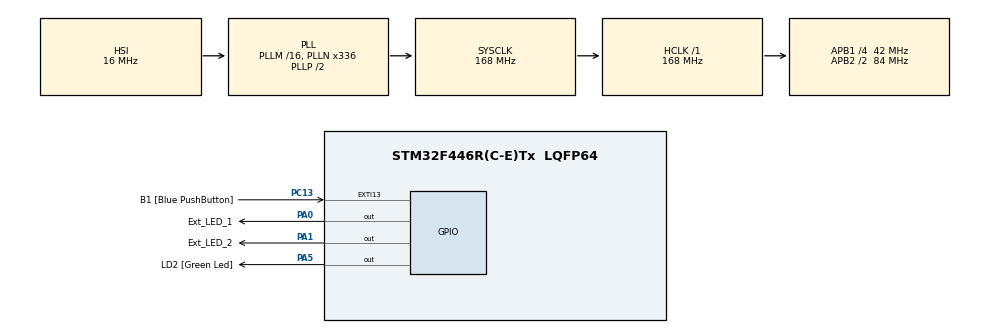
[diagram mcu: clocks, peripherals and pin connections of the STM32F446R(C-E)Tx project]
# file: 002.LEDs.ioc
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Mcu.Family=STM32F4
Mcu.Name=STM32F446R(C-E)Tx
Mcu.Package=LQFP64
NVIC.PriorityGroup=NVIC_PRIORITYGROUP_4
NVIC.TIM6_DAC_IRQn=true\:0\:0\:false\:false\:true\:false\:true\:true
NVIC.TimeBase=TIM6_DAC_IRQn
NVIC.TimeBaseIP=TIM6
PA0-WKUP.GPIO_Label=Ext_LED_1
PA0-WKUP.Signal=GPIO_Output
PA1.GPIO_Label=Ext_LED_2
PA1.Signal=GPIO_Output
PA13.GPIO_Label=TMS
PA13.Signal=SYS_JTMS-SWDIO
PA14.GPIO_Label=TCK
PA14.Signal=SYS_JTCK-SWCLK
PA2.GPIO_Label=USART_TX
PA2.Signal=USART2_TX
PA3.GPIO_Label=USART_RX
PA3.Signal=USART2_RX
PA5.GPIO_Label=LD2 [Green Led]
PA5.Signal=GPIO_Output
PB3.GPIO_Label=SWO
PB3.Signal=SYS_JTDO-SWO
PC13.GPIO_Label=B1 [Blue PushButton]
PC13.GPIO_ModeDefaultEXTI=GPIO_MODE_IT_FALLING
PC13.Signal=GPXTI13
PC14-OSC32_IN.Signal=RCC_OSC32_IN
PC15-OSC32_OUT.Signal=RCC_OSC32_OUT
PH0-OSC_IN.Signal=RCC_OSC_IN
PH1-OSC_OUT.Signal=RCC_OSC_OUT
ProjectManager.HeapSize=0x200
ProjectManager.StackSize=0x400
ProjectManager.TargetToolchain=STM32CubeIDE
RCC.AHBFreq_Value=168000000
RCC.APB1CLKDivider=RCC_HCLK_DIV4
RCC.APB1Freq_Value=42000000
RCC.APB1TimFreq_Value=84000000
RCC.APB2CLKDivider=RCC_HCLK_DIV2
RCC.APB2Freq_Value=84000000
RCC.APB2TimFreq_Value=168000000
RCC.CortexFreq_Value=168000000
RCC.FLatency-AdvancedSettings=FLASH_LATENCY_5
RCC.HCLKFreq_Value=168000000
RCC.HSE_VALUE=8000000
RCC.HSI_VALUE=16000000
RCC.LSE_VALUE=32768
RCC.PLLN=336
RCC.SYSCLKFreq_VALUE=168000000
RCC.SYSCLKSource=RCC_SYSCLKSOURCE_PLLCLK
RCC.USBFreq_Value=168000000
RCC.VCOOutputFreq_Value=336000000
VP_SYS_VS_tim6.Mode=TIM6
board=NUCLEO-F446RE

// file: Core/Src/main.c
/* USER CODE BEGIN Header */
/**
  ******************************************************************************
  * @file           : main.c
  * @brief          : Main program body
  ******************************************************************************
  * @attention
  *
  * Copyright (c) 2025 STMicroelectronics.
  * All rights reserved.
  *
  * This software is licensed under terms that can be found in the LICENSE file
  * in the root directory of this software component.
  * If no LICENSE file comes with this software, it is provided AS-IS.
  *
  ******************************************************************************
  */
/* USER CODE END Header */
#include "main.h"

/* USER CODE BEGIN Includes */

#include <stdio.h>
#include "FreeRTOS.h"
#include "task.h"

/* USER CODE END Includes */

/* USER CODE BEGIN PV */

#define DWT_CTRL		(*(volatile uint32_t*)0xE0001000)

/* USER CODE END PV */

void SystemClock_Config(void);
static void MX_GPIO_Init(void);
/* USER CODE BEGIN PFP */

void LED1_task(void *);
void LED2_task(void *);
void LED3_task(void *);

extern void SEGGER_UART_init(uint32_t);

/* USER CODE END PFP */

int main(void)
{

  /* USER CODE BEGIN 1 */

	TaskHandle_t task1_handle = NULL;
	TaskHandle_t task2_handle = NULL;
	TaskHandle_t task3_handle = NULL;
	BaseType_t status;

  /* USER CODE END 1 */

  /* MCU Configuration--------------------------------------------------------*/

  /* Reset of all peripherals, Initializes the Flash interface and the Systick. */
  HAL_Init();

  /* Configure the system clock */
  SystemClock_Config();

  /* Initialize all configured peripherals */
  MX_GPIO_Init();
  /* USER CODE BEGIN 2 */

  SEGGER_UART_init(500000);

  //Enable the CYCCNT (Cyclic Clock Counter)
  DWT_CTRL |= (1 << 0);

  SEGGER_SYSVIEW_Conf();

  //SEGGER_SYSVIEW_Start(); // this is initialized in SEGGER_UART_Init();

  status = xTaskCreate(LED1_task, "LED_1_Task", 200, NULL, 2, &task1_handle);

  configASSERT(status == pdPASS);

  status = xTaskCreate(LED2_task, "LED_2_Task", 200, NULL, 2, &task2_handle);

  configASSERT(status == pdPASS);

  status = xTaskCreate(LED3_task, "LED_3_Task", 200, NULL, 2, &task3_handle);

  configASSERT(status == pdPASS);

  //Start the freeRTOS scheduler
  vTaskStartScheduler();

  /* USER CODE END 2 */

  /* Infinite loop */
  while (1)
  {

  }
}

void SystemClock_Config(void)
{
  RCC_OscInitTypeDef RCC_OscInitStruct = {0};
  RCC_ClkInitTypeDef RCC_ClkInitStruct = {0};

  /** Configure the main internal regulator output voltage
  */
  __HAL_RCC_PWR_CLK_ENABLE();
  __HAL_PWR_VOLTAGESCALING_CONFIG(PWR_REGULATOR_VOLTAGE_SCALE1);

  /** Initializes the RCC Oscillators according to the specified parameters
  * in the RCC_OscInitTypeDef structure.
  */
  RCC_OscInitStruct.OscillatorType = RCC_OSCILLATORTYPE_HSI;
  RCC_OscInitStruct.HSIState = RCC_HSI_ON;
  RCC_OscInitStruct.HSICalibrationValue = RCC_HSICALIBRATION_DEFAULT;
  RCC_OscInitStruct.PLL.PLLState = RCC_PLL_ON;
  RCC_OscInitStruct.PLL.PLLSource = RCC_PLLSOURCE_HSI;
  RCC_OscInitStruct.PLL.PLLM = 16;
  RCC_OscInitStruct.PLL.PLLN = 336;
  RCC_OscInitStruct.PLL.PLLP = RCC_PLLP_DIV2;
  RCC_OscInitStruct.PLL.PLLQ = 2;
  RCC_OscInitStruct.PLL.PLLR = 2;
  if (HAL_RCC_OscConfig(&RCC_OscInitStruct) != HAL_OK)
  {
    Error_Handler();
  }

  /** Initializes the CPU, AHB and APB buses clocks
  */
  RCC_ClkInitStruct.ClockType = RCC_CLOCKTYPE_HCLK|RCC_CLOCKTYPE_SYSCLK
                              |RCC_CLOCKTYPE_PCLK1|RCC_CLOCKTYPE_PCLK2;
  RCC_ClkInitStruct.SYSCLKSource = RCC_SYSCLKSOURCE_PLLCLK;
  RCC_ClkInitStruct.AHBCLKDivider = RCC_SYSCLK_DIV1;
  RCC_ClkInitStruct.APB1CLKDivider = RCC_HCLK_DIV4;
  RCC_ClkInitStruct.APB2CLKDivider = RCC_HCLK_DIV2;

  if (HAL_RCC_ClockConfig(&RCC_ClkInitStruct, FLASH_LATENCY_5) != HAL_OK)
  {
    Error_Handler();
  }
}

static void MX_GPIO_Init(void)
{
  GPIO_InitTypeDef GPIO_InitStruct = {0};

  /* GPIO Ports Clock Enable */
  __HAL_RCC_GPIOC_CLK_ENABLE();
  __HAL_RCC_GPIOH_CLK_ENABLE();
  __HAL_RCC_GPIOA_CLK_ENABLE();
  __HAL_RCC_GPIOB_CLK_ENABLE();

  /*Configure GPIO pin Output Level */
  HAL_GPIO_WritePin(GPIOA, Ext_LED_1_Pin|Ext_LED_2_Pin|LD2_Pin, GPIO_PIN_RESET);

  /*Configure GPIO pin : B1_Pin */
  GPIO_InitStruct.Pin = B1_Pin;
  GPIO_InitStruct.Mode = GPIO_MODE_IT_FALLING;
  GPIO_InitStruct.Pull = GPIO_NOPULL;
  HAL_GPIO_Init(B1_GPIO_Port, &GPIO_InitStruct);

  /*Configure GPIO pins : Ext_LED_1_Pin Ext_LED_2_Pin LD2_Pin */
  GPIO_InitStruct.Pin = Ext_LED_1_Pin|Ext_LED_2_Pin|LD2_Pin;
  GPIO_InitStruct.Mode = GPIO_MODE_OUTPUT_PP;
  GPIO_InitStruct.Pull = GPIO_NOPULL;
  GPIO_InitStruct.Speed = GPIO_SPEED_FREQ_LOW;
  HAL_GPIO_Init(GPIOA, &GPIO_InitStruct);

  /*Configure GPIO pins : USART_TX_Pin USART_RX_Pin */
  GPIO_InitStruct.Pin = USART_TX_Pin|USART_RX_Pin;
  GPIO_InitStruct.Mode = GPIO_MODE_AF_PP;
  GPIO_InitStruct.Pull = GPIO_NOPULL;
  GPIO_InitStruct.Speed = GPIO_SPEED_FREQ_VERY_HIGH;
  GPIO_InitStruct.Alternate = GPIO_AF7_USART2;
  HAL_GPIO_Init(GPIOA, &GPIO_InitStruct);

}

/* USER CODE BEGIN 4 */

void LED1_task(void *)
{
	while(1)
	{
		SEGGER_SYSVIEW_PrintfTarget("LED_1_Toggling");
		HAL_GPIO_TogglePin(GPIOA, GPIO_PIN_0);
		//HAL_Delay(1000);
		//taskYIELD();

		/*By using vTaskDelay() function we can make CPU to sleep when all the tasks are entered into blocked state*/
		vTaskDelay(pdMS_TO_TICKS(1000));
	}
}
void LED2_task(void *)
{
	while(1)
	{
		SEGGER_SYSVIEW_PrintfTarget("LED_2_Toggling");
		HAL_GPIO_TogglePin(GPIOA, GPIO_PIN_1);
		//HAL_Delay(800);
		//taskYIELD();
		vTaskDelay(pdMS_TO_TICKS(800));
	}
}
void LED3_task(void *)
{
	while(1)
	{
		SEGGER_SYSVIEW_PrintfTarget("LED_3_Toggling");
		HAL_GPIO_TogglePin(GPIOA, GPIO_PIN_5);
		//HAL_Delay(400);
		//taskYIELD();
		vTaskDelay(pdMS_TO_TICKS(400));
	}
}

/* USER CODE END 4 */

void HAL_TIM_PeriodElapsedCallback(TIM_HandleTypeDef *htim)
{
  if (htim->Instance == TIM6) {
    HAL_IncTick();
  }
}

void Error_Handler(void)
{
  __disable_irq();
  while (1)
  {
  }
}
